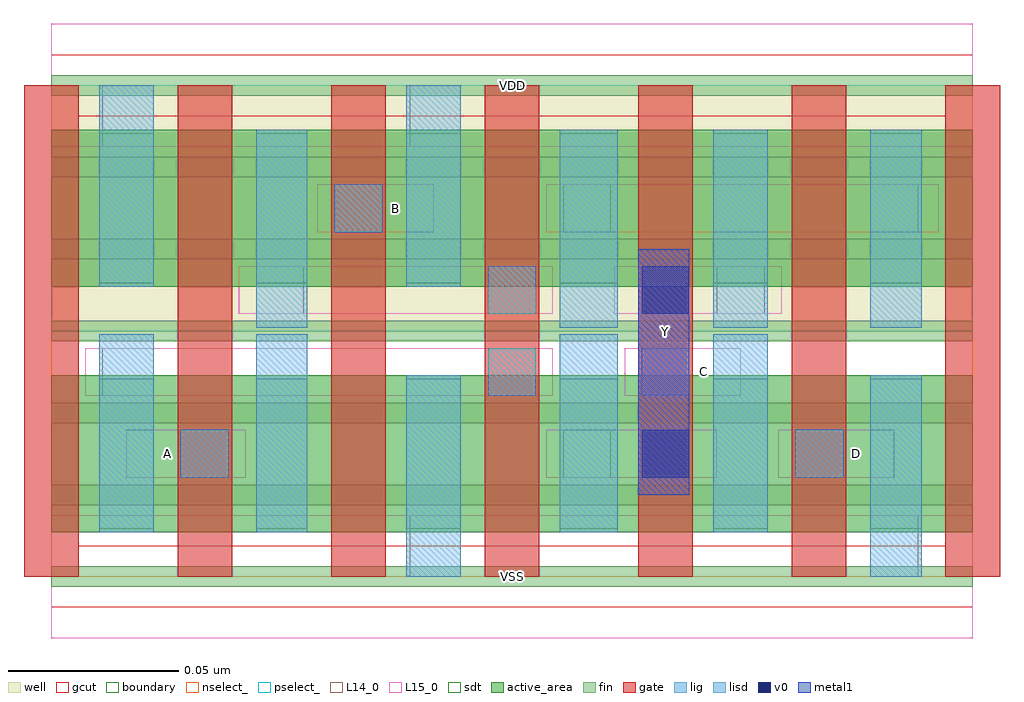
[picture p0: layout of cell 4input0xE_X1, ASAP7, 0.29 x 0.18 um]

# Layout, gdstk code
import gdstk
lib = gdstk.Library(unit=1e-6, precision=1e-09)
def R(c, l, rs):  # rectangles x0, y0, x1, y1
    for r in rs: c.add(gdstk.rectangle(r[:2], r[2:], *l))
def A(c, l, x, y, w, h, nx, ny, dx, dy):  # array of equal rectangles
    R(c, l, [(x+i*dx, y+j*dy, x+i*dx+w, y+j*dy+h) for i in range(nx) for j in range(ny)])
def P(c, l, *ps):  # polygons
    for p in ps: c.add(gdstk.Polygon(p, *l))
well = (1, 0)
fin = (2, 0)
gate = (7, 0)
gcut = (10, 0)
active_area = (11, 0)
nselect_ = (12, 0)
pselect_ = (13, 0)
L14_0 = (14, 0)
L15_0 = (15, 0)
lig = (16, 0)
lisd = (17, 0)
v0 = (18, 0)
metal1 = (19, 0)
sdt = (88, 0)
boundary = (100, 0)

c_4input0xe_x1 = lib.new_cell('4input0xE_X1')
R(c_4input0xe_x1, well, [(0,0.072,0.27,0.144)])
A(c_4input0xe_x1, fin, 0, -0.003, 0.27, 0.006, 1, 7, 0, 0.024)
A(c_4input0xe_x1, gate, -0.008, 0, 0.016, 0.144, 7, 1, 0.045, 0)
P(c_4input0xe_x1, gcut, [(0,-0.009),(0,0),(-0.008,0),(-0.008,0.135),(0.008,0.135),(0.008,0.009),(0.262,0.009),(0.262,0.135),(-0.008,0.135),(-0.008,0.144),(0,0.144),(0,0.153),(0.27,0.153),(0.27,0.144),(0.278,0.144),(0.278,0),(0.27,0),(0.27,-0.009)])
R(c_4input0xe_x1, active_area, [(0,0.013,0.27,0.059), (0,0.085,0.27,0.131)])
R(c_4input0xe_x1, nselect_, [(0,0,0.27,0.072)])
R(c_4input0xe_x1, pselect_, [(0,0.072,0.27,0.144)])
R(c_4input0xe_x1, L14_0, [(0.105,0,0.12,0.018), (0.24,0,0.254,0.018), (0.038,0.029,0.052,0.043), (0.15,0.029,0.164,0.043), (0.218,0.029,0.232,0.043), (0.015,0.053,0.03,0.067), (0.128,0.053,0.142,0.067), (0.173,0.053,0.187,0.067), (0.06,0.077,0.074,0.091), (0.128,0.077,0.142,0.091), (0.195,0.077,0.209,0.091), (0.083,0.101,0.097,0.115), (0.15,0.101,0.164,0.115), (0.24,0.101,0.254,0.115), (0.015,0.126,0.03,0.144), (0.105,0.126,0.12,0.144)])
R(c_4input0xe_x1, L15_0, [(0,-0.018,0.27,0.018), (0.022,0.029,0.057,0.043), (0.145,0.029,0.195,0.043), (0.213,0.029,0.247,0.043), (0.01,0.053,0.147,0.067), (0.168,0.053,0.202,0.067), (0.055,0.077,0.147,0.091), (0.165,0.077,0.214,0.091), (0.078,0.101,0.112,0.115), (0.145,0.101,0.26,0.115), (0,0.126,0.27,0.162)])
R(c_4input0xe_x1, lig, [(0.038,0.029,0.052,0.043), (0.218,0.029,0.232,0.043), (0.128,0.053,0.142,0.067), (0.173,0.053,0.187,0.067), (0.128,0.077,0.142,0.091), (0.083,0.101,0.097,0.115)])
R(c_4input0xe_x1, lisd, [(0.104,0,0.12,0.059), (0.24,0,0.255,0.059), (0.014,0.013,0.03,0.071), (0.06,0.013,0.075,0.071), (0.149,0.013,0.166,0.071), (0.194,0.013,0.21,0.071), (0.06,0.073,0.075,0.131), (0.149,0.073,0.166,0.131), (0.194,0.073,0.21,0.131), (0.24,0.073,0.255,0.131), (0.014,0.085,0.03,0.144), (0.104,0.085,0.12,0.144)])
R(c_4input0xe_x1, v0, [(0.173,0.029,0.187,0.043), (0.173,0.077,0.187,0.091)])
R(c_4input0xe_x1, metal1, [(0.172,0.024,0.187,0.096)])
A(c_4input0xe_x1, sdt, 0.014, 0.014, 0.016, 0.044, 3, 2, 0.09, 0.072)
R(c_4input0xe_x1, sdt, [(0.06,0.014,0.075,0.058), (0.149,0.014,0.166,0.058), (0.24,0.014,0.255,0.058), (0.06,0.086,0.075,0.13), (0.149,0.086,0.166,0.13), (0.24,0.086,0.255,0.13)])
R(c_4input0xe_x1, boundary, [(0,0,0.27,0.144)])
c_4input0xe_x1.add(gdstk.Label('D', (0.236,0.036), layer=15, texttype=251))
c_4input0xe_x1.add(gdstk.Label('VSS', (0.135,0), layer=15, texttype=251))
c_4input0xe_x1.add(gdstk.Label('VDD', (0.135,0.144), layer=15, texttype=251))
c_4input0xe_x1.add(gdstk.Label('A', (0.034,0.036), layer=15, texttype=251))
c_4input0xe_x1.add(gdstk.Label('VSS', (0.135,0), layer=15, texttype=251))
c_4input0xe_x1.add(gdstk.Label('VDD', (0.135,0.144), layer=15, texttype=251))
c_4input0xe_x1.add(gdstk.Label('VSS', (0.135,0), layer=15, texttype=251))
c_4input0xe_x1.add(gdstk.Label('VDD', (0.135,0.144), layer=15, texttype=251))
c_4input0xe_x1.add(gdstk.Label('C', (0.191,0.06), layer=15, texttype=251))
c_4input0xe_x1.add(gdstk.Label('VSS', (0.135,0), layer=15, texttype=251))
c_4input0xe_x1.add(gdstk.Label('VDD', (0.135,0.144), layer=15, texttype=251))
c_4input0xe_x1.add(gdstk.Label('B', (0.101,0.108), layer=15, texttype=251))
c_4input0xe_x1.add(gdstk.Label('VSS', (0.135,0), layer=15, texttype=251))
c_4input0xe_x1.add(gdstk.Label('VDD', (0.135,0.144), layer=15, texttype=251))
c_4input0xe_x1.add(gdstk.Label('VSS', (0.135,0), layer=3, texttype=251))
c_4input0xe_x1.add(gdstk.Label('VSS', (0.135,0), layer=3, texttype=251))
c_4input0xe_x1.add(gdstk.Label('VSS', (0.135,0), layer=3, texttype=251))
c_4input0xe_x1.add(gdstk.Label('VSS', (0.135,0), layer=3, texttype=251))
c_4input0xe_x1.add(gdstk.Label('VSS', (0.135,0), layer=3, texttype=251))
c_4input0xe_x1.add(gdstk.Label('VDD', (0.135,0.144), layer=1, texttype=251))
c_4input0xe_x1.add(gdstk.Label('VDD', (0.135,0.144), layer=1, texttype=251))
c_4input0xe_x1.add(gdstk.Label('VDD', (0.135,0.144), layer=1, texttype=251))
c_4input0xe_x1.add(gdstk.Label('VDD', (0.135,0.144), layer=1, texttype=251))
c_4input0xe_x1.add(gdstk.Label('VDD', (0.135,0.144), layer=1, texttype=251))
c_4input0xe_x1.add(gdstk.Label('Y', (0.18,0.072), layer=19, texttype=251))

lib.write_gds('4input0xE_X1.gds')
